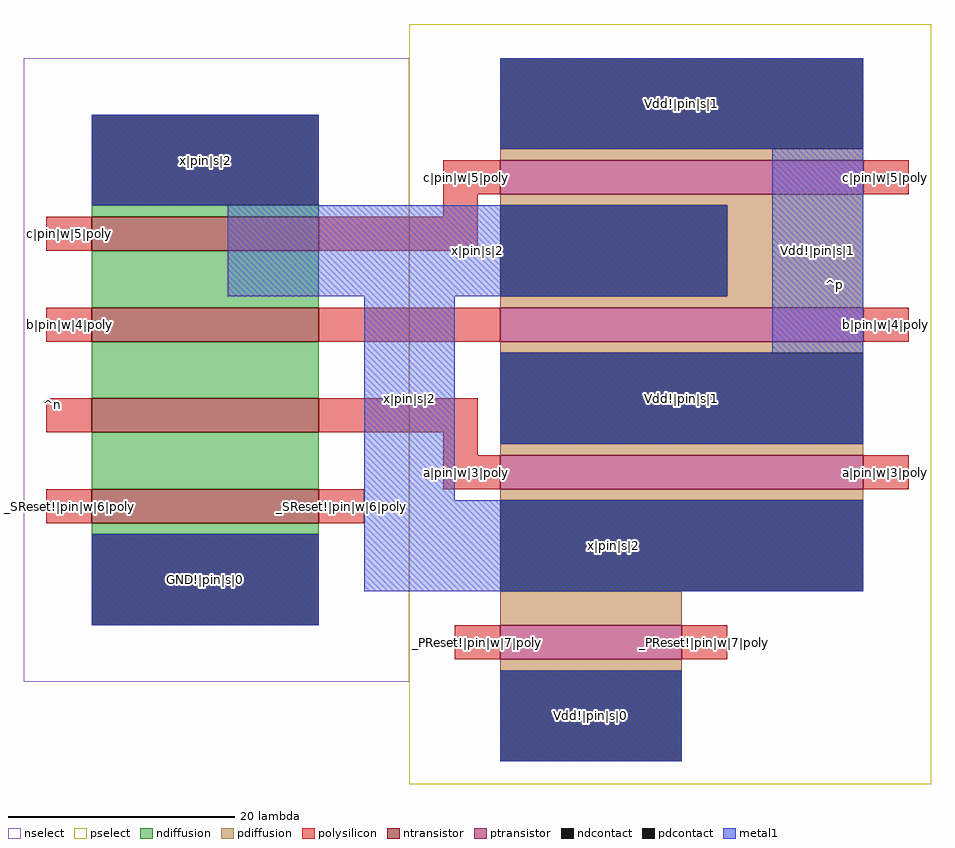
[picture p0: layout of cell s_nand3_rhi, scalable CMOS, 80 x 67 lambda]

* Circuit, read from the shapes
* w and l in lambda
.subckt s_nand3_rhi GND!|pin|s|0 Vdd!|pin|s|0 Vdd!|pin|s|1 _PReset!|pin|w|7|poly _SReset!|pin|w|6|poly a|pin|w|3|poly b|pin|w|4|poly c|pin|w|5|poly x|pin|s|2
M1 n1 _SReset!|pin|w|6|poly GND!|pin|s|0 VSUBS nfet w=20 l=3
M2 n2 a|pin|w|3|poly n1 VSUBS nfet w=20 l=3
M3 n3 b|pin|w|4|poly n2 VSUBS nfet w=20 l=3
M4 x|pin|s|2 c|pin|w|5|poly n3 VSUBS nfet w=20 l=3
M5 x|pin|s|2 _PReset!|pin|w|7|poly Vdd!|pin|s|0 NWELL pfet w=16 l=3
M6 Vdd!|pin|s|1 a|pin|w|3|poly x|pin|s|2 NWELL pfet w=32 l=3
M7 x|pin|s|2 b|pin|w|4|poly Vdd!|pin|s|1 NWELL pfet w=32 l=3
M8 Vdd!|pin|s|1 c|pin|w|5|poly x|pin|s|2 NWELL pfet w=32 l=3
.ends

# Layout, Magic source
magic
tech scmos
<< nselect >>
rect -34 8 0 63
<< pselect >>
rect 0 -1 46 66
<< ndiffusion >>
rect -28 49 -8 50
rect -28 41 -8 46
rect -28 33 -8 38
rect -28 25 -8 30
rect -28 21 -8 22
<< pdiffusion >>
rect 8 54 40 55
rect 8 50 40 51
rect 28 42 40 50
rect 8 41 40 42
rect 8 37 40 38
rect 8 28 40 29
rect 8 24 40 25
rect 8 13 24 16
rect 8 9 24 10
<< ntransistor >>
rect -28 46 -8 49
rect -28 38 -8 41
rect -28 30 -8 33
rect -28 22 -8 25
<< ptransistor >>
rect 8 51 40 54
rect 8 38 40 41
rect 8 25 40 28
rect 8 10 24 13
<< polysilicon >>
rect 3 51 8 54
rect 40 51 44 54
rect 3 49 6 51
rect -32 46 -28 49
rect -8 46 6 49
rect -32 38 -28 41
rect -8 38 8 41
rect 40 38 44 41
rect -32 30 -28 33
rect -8 30 6 33
rect 3 28 6 30
rect 3 25 8 28
rect 40 25 44 28
rect -32 22 -28 25
rect -8 22 -4 25
rect 4 10 8 13
rect 24 10 28 13
<< ndcontact >>
rect -28 50 -8 58
rect -28 13 -8 21
<< pdcontact >>
rect 8 55 40 63
rect 8 42 28 50
rect 8 29 40 37
rect 8 16 40 24
rect 8 1 24 9
<< metal1 >>
rect -28 50 -8 58
rect 8 55 40 63
rect -16 42 28 50
rect -4 24 4 42
rect 32 37 40 55
rect 8 29 40 37
rect -28 13 -8 21
rect -4 16 40 24
rect 8 1 24 9
<< labels >>
rlabel space -35 -1 -28 66 7 ^n
rlabel space 28 20 47 66 3 ^p
rlabel metal1 -28 13 -8 21 1 GND!|pin|s|0
rlabel metal1 32 29 40 63 1 Vdd!|pin|s|1
rlabel metal1 -4 16 4 50 1 x|pin|s|2
rlabel metal1 -28 50 -8 58 1 x|pin|s|2
rlabel metal1 -16 42 28 50 1 x|pin|s|2
rlabel metal1 -4 16 40 24 1 x|pin|s|2
rlabel polysilicon 40 25 44 28 1 a|pin|w|3|poly
rlabel polysilicon 3 25 7 28 1 a|pin|w|3|poly
rlabel polysilicon -32 30 -28 33 1 a|pin|w|3|poly
rlabel polysilicon -32 38 -28 41 1 b|pin|w|4|poly
rlabel polysilicon 40 38 44 41 1 b|pin|w|4|poly
rlabel polysilicon 40 51 44 54 1 c|pin|w|5|poly
rlabel polysilicon 3 51 7 54 1 c|pin|w|5|poly
rlabel polysilicon -32 46 -28 49 1 c|pin|w|5|poly
rlabel polysilicon -32 22 -28 25 1 _SReset!|pin|w|6|poly
rlabel polysilicon -8 22 -4 25 1 _SReset!|pin|w|6|poly
rlabel polysilicon 4 10 8 13 1 _PReset!|pin|w|7|poly
rlabel polysilicon 24 10 28 13 1 _PReset!|pin|w|7|poly
rlabel metal1 8 55 40 63 1 Vdd!|pin|s|1
rlabel metal1 8 29 40 37 1 Vdd!|pin|s|1
rlabel metal1 8 1 24 9 1 Vdd!|pin|s|0
<< end >>
